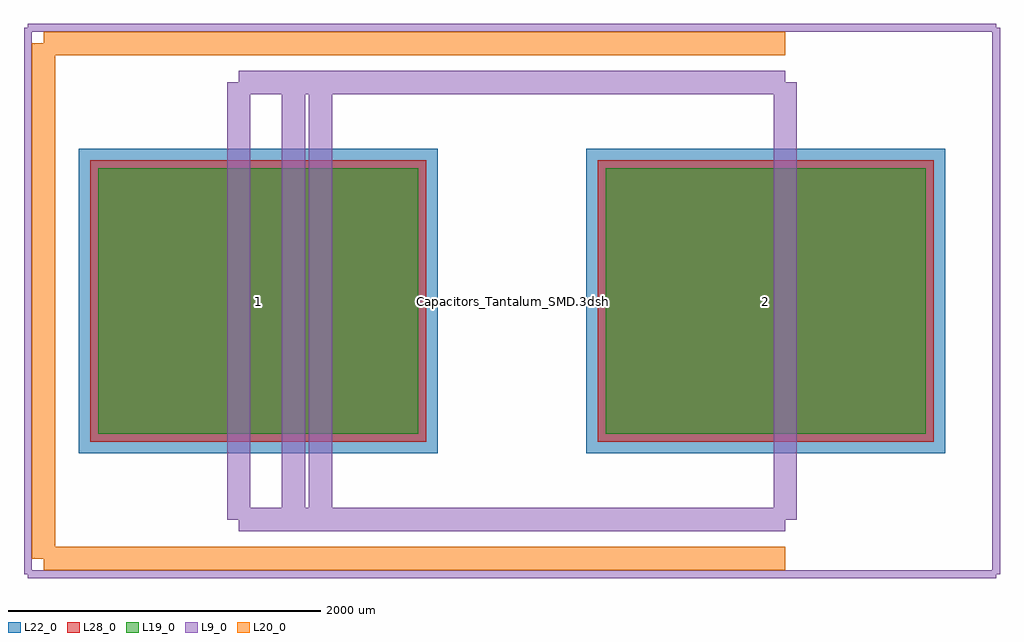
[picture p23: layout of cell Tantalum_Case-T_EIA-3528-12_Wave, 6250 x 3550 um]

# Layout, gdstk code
import gdstk
lib = gdstk.Library(unit=1e-6, precision=1e-09)
def R(c, l, rs):  # rectangles x0, y0, x1, y1
    for r in rs: c.add(gdstk.rectangle(r[:2], r[2:], *l))
L9_0 = (9, 0)
L19_0 = (19, 0)
L20_0 = (20, 0)
L22_0 = (22, 0)
L28_0 = (28, 0)

tantalum_case_t_eia_3528 = lib.new_cell('Tantalum_Case-T_EIA-3528-12_Wave')
R(tantalum_case_t_eia_3528, L19_0, [(-2650,-850,-600,850), (600,-850,2650,850)])
R(tantalum_case_t_eia_3528, L22_0, [(-2775,-975,-475,975), (475,-975,2775,975)])
R(tantalum_case_t_eia_3528, L28_0, [(-2700,-900,-550,900), (550,-900,2700,900)])
tantalum_case_t_eia_3528.add(gdstk.FlexPath([(-3000,1650),(-3000,-1650)], 149.998, ends="flush", simple_path=True, layer=20, datatype=0))  # L20_0
tantalum_case_t_eia_3528.add(gdstk.FlexPath([(-3000,-1650),(1750,-1650)], 149.998, ends="flush", simple_path=True, layer=20, datatype=0))  # L20_0
tantalum_case_t_eia_3528.add(gdstk.FlexPath([(-3000,1650),(1750,1650)], 149.998, ends="flush", simple_path=True, layer=20, datatype=0))  # L20_0
tantalum_case_t_eia_3528.add(gdstk.FlexPath([(-1225,1400),(-1225,-1400)], 149.998, ends="flush", simple_path=True, layer=9, datatype=0))  # L9_0
tantalum_case_t_eia_3528.add(gdstk.FlexPath([(-1400,1400),(-1400,-1400)], 149.998, ends="flush", simple_path=True, layer=9, datatype=0))  # L9_0
tantalum_case_t_eia_3528.add(gdstk.FlexPath([(1750,1400),(-1750,1400)], 149.998, ends="flush", simple_path=True, layer=9, datatype=0))  # L9_0
tantalum_case_t_eia_3528.add(gdstk.FlexPath([(1750,-1400),(1750,1400)], 149.998, ends="flush", simple_path=True, layer=9, datatype=0))  # L9_0
tantalum_case_t_eia_3528.add(gdstk.FlexPath([(-1750,-1400),(1750,-1400)], 149.998, ends="flush", simple_path=True, layer=9, datatype=0))  # L9_0
tantalum_case_t_eia_3528.add(gdstk.FlexPath([(-1750,1400),(-1750,-1400)], 149.998, ends="flush", simple_path=True, layer=9, datatype=0))  # L9_0
tantalum_case_t_eia_3528.add(gdstk.FlexPath([(3100,1750),(-3100,1750)], 50, ends="flush", simple_path=True, layer=9, datatype=0))  # L9_0
tantalum_case_t_eia_3528.add(gdstk.FlexPath([(3100,-1750),(3100,1750)], 50, ends="flush", simple_path=True, layer=9, datatype=0))  # L9_0
tantalum_case_t_eia_3528.add(gdstk.FlexPath([(-3100,-1750),(3100,-1750)], 50, ends="flush", simple_path=True, layer=9, datatype=0))  # L9_0
tantalum_case_t_eia_3528.add(gdstk.FlexPath([(-3100,1750),(-3100,-1750)], 50, ends="flush", simple_path=True, layer=9, datatype=0))  # L9_0
tantalum_case_t_eia_3528.add(gdstk.Label('Capacitors_Tantalum_SMD.3dshapes/Tantalum_Case-T_EIA-3528-12.wrl', (0,0), layer=12, texttype=0))
tantalum_case_t_eia_3528.add(gdstk.Label('2', (1625,0), layer=28, texttype=0))
tantalum_case_t_eia_3528.add(gdstk.Label('1', (-1625,0), layer=28, texttype=0))
tantalum_case_t_eia_3528.add(gdstk.Label('type', (0,-3150), layer=9, texttype=0))
tantalum_case_t_eia_3528.add(gdstk.Label('devicename', (0,3150), layer=9, texttype=0))

lib.write_gds('Tantalum_Case-T_EIA-3528-12_Wave.gds')
